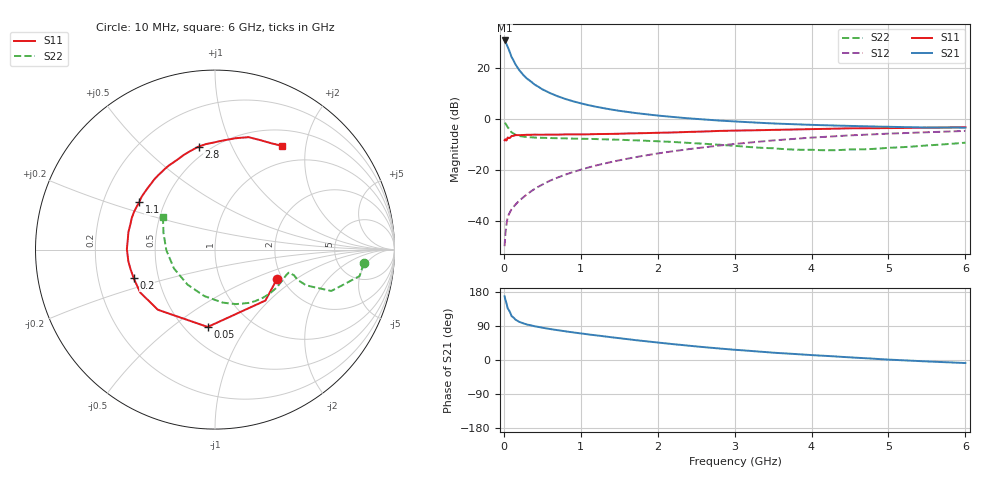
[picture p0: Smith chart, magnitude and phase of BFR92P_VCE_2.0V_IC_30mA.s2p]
! Infineon Technologies  Discrete & RF Semiconductors
! BFR92P
! VCE =  2.0 V,  IC =  30 mA
! Common Emitter S-Parameters:  Apr 2014
# GHz  S  MA  R  50
!  f  S11  S21  S12  S22
! GHz  MAG  ANG  MAG  ANG  MAG  ANG  MAG  ANG
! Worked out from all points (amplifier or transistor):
!   77 points, 10 MHz to 6 GHz, reference 50 ohm
!   highest |S21| = 30.7 dB at 10 MHz (marker M1)
!   |S21| within 3 dB of that: start of sweep to 56.79 MHz
!   unconditionally stable (mu >= 1): start of sweep to 13.12 MHz; 125.3 MHz to end of sweep
!   at 130 MHz: K = 1.02, MAG = 27.7 dB, |S12| = -34.3 dB
!   at 2.2 GHz: K = 1.22, MAG = 3.9 dB, |S12| = -12.7 dB
!   at 6 GHz: K = 1.00, MAG = 0.2 dB, |S12| = -4.7 dB
!   S11 on the Smith chart (normalised r, x): 10 MHz: 1.87, -0.72; 50 MHz: 0.64, -0.68; 200 MHz: 0.36, -0.15; 1.1 GHz: 0.36, +0.25; 2.8 GHz: 0.44, +0.75; 6 GHz: 0.72, +1.59
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0.01  0.3822 -25.7  34.46 168.1  0.0032 82.1  0.8323 -5.3
0.02  0.3993 -45.3  33.45 159.1  0.0055 71.8  0.8188 -10.4
0.05  0.4328 -95.4  25.81 136.0  0.0119 59.1  0.6875 -19.6
0.1  0.4621 -133.5  16.4 115.9  0.0169 56.8  0.5453 -21.4
0.15  0.4805 -150.2  11.78 106.7  0.0208 59.7  0.4902 -20.1
0.2  0.4803 -160.5  9.044 100.7  0.025 62.6  0.4626 -18.0
0.25  0.4833 -167.4  7.346 97.0  0.0288 65.7  0.4502 -17.7
0.3  0.4871 -172.4  6.181 93.6  0.0331 67.9  0.4397 -17.0
0.4  0.491 179.7  4.707 89.0  0.0424 70.3  0.4306 -17.4
0.5  0.4891 173.6  3.804 85.2  0.0515 72.6  0.4259 -18.5
0.6  0.4922 168.4  3.205 81.8  0.0615 73.4  0.421 -19.8
0.7  0.4919 163.7  2.779 78.7  0.0708 74.1  0.4179 -21.5
0.8  0.496 159.2  2.457 75.7  0.0808 74.2  0.415 -23.5
0.9  0.4979 154.9  2.214 72.8  0.0909 74.2  0.4107 -25.7
1.1  0.4987 147.8  1.859 67.5  0.1115 73.5  0.4058 -30.0
1.5  0.5115 134.1  1.441 57.6  0.1542 70.9  0.3904 -39.3
2.1  0.5375 116.0  1.126 44.0  0.221 64.4  0.3585 -54.4
2.8  0.5809 99.1  0.927 30.4  0.3002 55.8  0.3116 -74.6
3.1  0.5924 93.2  0.875 25.6  0.333 51.3  0.2881 -85.9
4.1  0.6342 78.5  0.756 11.8  0.4381 37.1  0.2442 -133.5
5.1  0.6619 66.3  0.695 0.1  0.5203 22.2  0.2749 176.6
6  0.6875 57.2  0.675 -8.0  0.5818 9.6  0.3417 148.1
